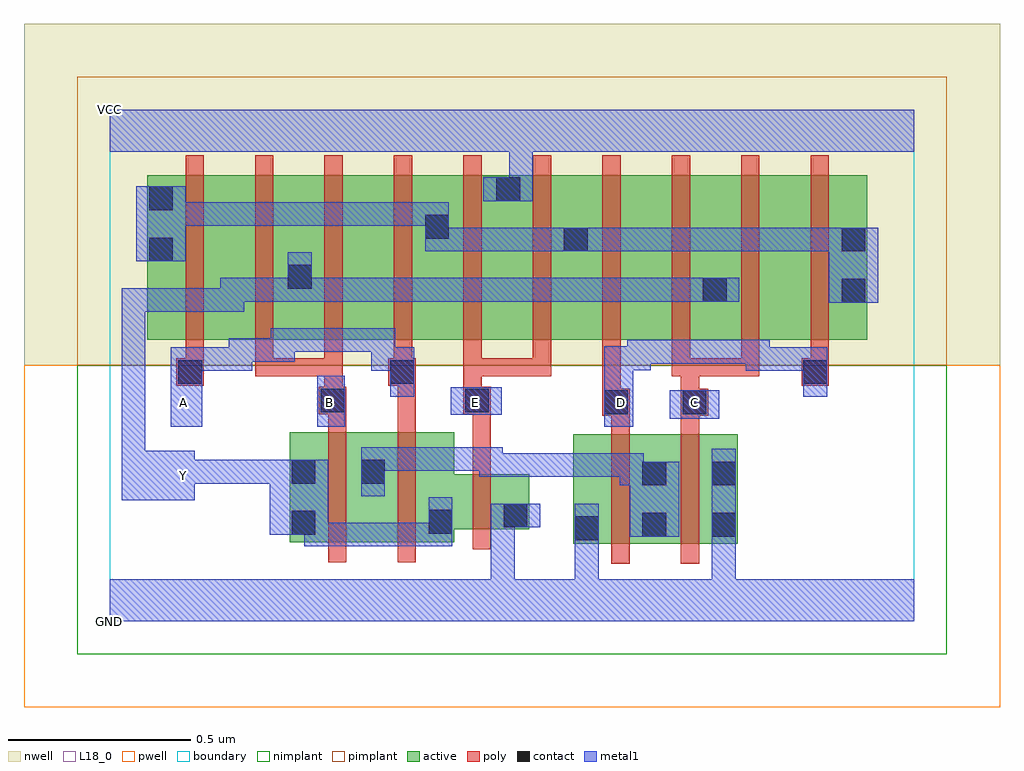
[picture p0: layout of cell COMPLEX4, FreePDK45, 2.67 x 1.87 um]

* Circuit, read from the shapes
.subckt COMPLEX4 A B C D E GND VCC Y
M1 n1 B Y VSUBS nfet w=0.3u l=0.05u
M2 Y A n1 VSUBS nfet w=0.3u l=0.05u
M3 GND E Y VSUBS nfet w=0.15u l=0.05u
M4 n1 D GND VSUBS nfet w=0.3u l=0.05u
M5 GND C n1 VSUBS nfet w=0.3u l=0.05u
M6 n2 A n3 n4 pfet w=0.45u l=0.05u
M7 Y B n2 n4 pfet w=0.45u l=0.05u
M8 n5 B Y n4 pfet w=0.45u l=0.05u
M9 n3 A n5 n4 pfet w=0.45u l=0.05u
M10 VCC E n3 n4 pfet w=0.45u l=0.05u m=2
M11 n6 D n3 n4 pfet w=0.45u l=0.05u
M12 Y C n6 n4 pfet w=0.45u l=0.05u
M13 n7 C Y n4 pfet w=0.45u l=0.05u
M14 n3 D n7 n4 pfet w=0.45u l=0.05u
.ends

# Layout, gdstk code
import gdstk
lib = gdstk.Library(unit=1e-6, precision=1e-09)
def R(c, l, rs):  # rectangles x0, y0, x1, y1
    for r in rs: c.add(gdstk.rectangle(r[:2], r[2:], *l))
def A(c, l, x, y, w, h, nx, ny, dx, dy):  # array of equal rectangles
    R(c, l, [(x+i*dx, y+j*dy, x+i*dx+w, y+j*dy+h) for i in range(nx) for j in range(ny)])
active = (1, 0)
pwell = (2, 0)
nwell = (3, 0)
nimplant = (4, 0)
pimplant = (5, 0)
poly = (9, 0)
contact = (10, 0)
metal1 = (11, 0)
L18_0 = (18, 0)
boundary = (235, 0)

complex4 = lib.new_cell('COMPLEX4')
R(complex4, active, [(1.267,0.212,1.527,0.512), (1.267,0.212,1.342,0.415), (1.452,0.212,1.717,0.512), (1.642,0.212,1.717,0.512), (0.492,0.217,0.757,0.517), (0.682,0.217,0.942,0.517), (0.867,0.217,0.942,0.31), (1.452,0.227,1.527,0.442), (0.492,0.232,0.567,0.517), (0.867,0.252,1.147,0.402), (1.072,0.252,1.147,0.327), (0.682,0.33,0.757,0.447), (0.102,0.77,0.327,1.22), (0.102,0.77,0.207,1.2), (0.327,0.77,0.557,1.22), (0.482,0.77,0.707,1.22), (0.707,0.77,0.932,1.22), (0.857,0.77,1.127,1.22), (1.052,0.77,1.312,1.22), (1.237,0.77,1.467,1.22), (1.467,0.77,1.692,1.22), (1.617,0.77,1.847,1.22), (1.847,0.77,2.072,1.22), (1.997,0.77,2.072,1.2), (1.617,0.837,1.692,1.07), (0.482,0.857,0.557,1.07), (0.857,0.857,0.932,1.2), (1.052,0.857,1.127,1.22), (1.237,0.857,1.312,1.2)])
R(complex4, pwell, [(-0.235,-0.235,2.435,0.7)])
R(complex4, nwell, [(-0.235,0.7,2.435,1.635)])
R(complex4, nimplant, [(-0.09,-0.09,2.29,0.7)])
R(complex4, pimplant, [(-0.09,0.7,2.29,1.49)])
A(complex4, poly, 0.207, 0.67, 0.05, 0.095, 6, 1, 0.19, 0)
A(complex4, poly, 1.537, 0.67, 0.05, 0.095, 3, 1, 0.19, 0)
A(complex4, poly, 0.207, 0.715, 0.05, 0.56, 10, 1, 0.19, 0)
R(complex4, poly, [(1.372,0.157,1.422,0.567), (1.562,0.157,1.612,0.567), (0.597,0.162,0.647,0.572), (0.787,0.162,0.837,0.572), (0.992,0.197,1.042,0.457), (0.992,0.407,1.042,0.617), (1.372,0.517,1.422,0.612), (1.562,0.517,1.612,0.612), (0.597,0.522,0.647,0.617), (0.787,0.522,0.837,0.695), (1.347,0.562,1.422,0.637), (1.372,0.562,1.422,0.612), (1.372,0.562,1.422,0.612), (1.562,0.562,1.637,0.637), (0.572,0.567,0.647,0.642), (0.967,0.567,1.042,0.642), (1.347,0.587,1.397,0.765), (1.562,0.587,1.612,0.72), (0.587,0.592,0.637,0.72), (0.967,0.592,1.017,0.72), (0.182,0.645,0.257,0.72), (0.762,0.645,0.837,0.72), (0.787,0.645,0.837,0.695), (0.787,0.645,0.837,0.695), (1.892,0.645,1.967,0.72), (0.397,0.67,0.447,0.72), (0.397,0.67,0.447,0.72), (0.397,0.67,0.447,0.72), (0.397,0.67,0.637,0.72), (0.587,0.67,0.637,0.72), (0.967,0.67,1.017,0.72), (0.967,0.67,1.207,0.72), (1.157,0.67,1.207,0.72), (1.157,0.67,1.207,0.72), (1.157,0.67,1.207,0.72), (1.537,0.67,1.612,0.72), (1.562,0.67,1.777,0.72), (1.727,0.67,1.777,0.72), (1.727,0.67,1.777,0.72), (1.727,0.67,1.777,0.72)])
R(complex4, contact, [(1.272,0.222,1.337,0.287), (1.457,0.232,1.522,0.297), (1.647,0.232,1.712,0.297), (0.497,0.237,0.562,0.302), (0.872,0.24,0.937,0.305), (1.077,0.257,1.142,0.322), (1.457,0.372,1.522,0.437), (1.647,0.372,1.712,0.437), (0.497,0.377,0.562,0.442), (0.687,0.377,0.752,0.442), (1.352,0.567,1.417,0.632), (1.567,0.567,1.632,0.632), (0.577,0.572,0.642,0.637), (0.972,0.572,1.037,0.637), (0.187,0.65,0.252,0.715), (0.767,0.65,0.832,0.715), (1.897,0.65,1.962,0.715), (2.002,0.872,2.067,0.937), (1.622,0.875,1.687,0.94), (0.487,0.91,0.552,0.975), (0.107,0.985,0.172,1.05), (1.242,1.012,1.307,1.077), (2.002,1.012,2.067,1.077), (0.862,1.047,0.927,1.112), (0.107,1.125,0.172,1.19), (1.057,1.15,1.122,1.215)])
R(complex4, metal1, [(0,0,2.2,0.115), (1.042,0.05,1.107,0.322), (1.272,0.05,1.337,0.252), (1.647,0.05,1.712,0.262), (1.272,0.187,1.337,0.252), (1.272,0.187,1.337,0.252), (1.272,0.187,1.337,0.322), (1.647,0.197,1.712,0.262), (1.647,0.197,1.712,0.262), (1.647,0.197,1.712,0.472), (0.532,0.205,0.597,0.27), (0.532,0.205,0.597,0.27), (0.532,0.205,0.597,0.27), (0.532,0.205,0.752,0.27), (0.532,0.205,0.597,0.302), (0.687,0.205,0.752,0.27), (0.687,0.205,0.752,0.27), (0.687,0.205,0.752,0.27), (0.687,0.205,0.937,0.27), (0.872,0.205,0.937,0.34), (1.422,0.232,1.557,0.437), (0.437,0.237,0.597,0.442), (1.042,0.257,1.107,0.322), (1.042,0.257,1.107,0.322), (1.042,0.257,1.107,0.322), (1.042,0.257,1.107,0.322), (1.042,0.257,1.177,0.322), (0.032,0.332,0.232,0.467), (0.687,0.342,0.752,0.477), (1.395,0.372,1.487,0.437), (1.395,0.372,1.46,0.46), (0.167,0.377,0.232,0.442), (0.167,0.377,0.232,0.442), (0.167,0.377,0.367,0.442), (0.302,0.377,0.367,0.442), (0.302,0.377,0.39,0.442), (0.325,0.377,0.39,0.442), (0.325,0.377,0.502,0.442), (0.437,0.377,0.502,0.442), (0.437,0.377,0.502,0.442), (1.01,0.395,1.075,0.46), (1.01,0.395,1.075,0.46), (1.01,0.395,1.342,0.46), (1.01,0.395,1.075,0.477), (1.277,0.395,1.342,0.46), (1.277,0.395,1.46,0.46), (0.032,0.402,0.097,0.912), (0.687,0.412,0.752,0.477), (0.687,0.412,0.752,0.477), (0.687,0.412,0.937,0.477), (0.872,0.412,0.937,0.477), (0.872,0.412,0.937,0.477), (0.872,0.412,0.937,0.477), (0.872,0.412,1.075,0.477), (0.167,0.532,0.252,0.75), (0.567,0.532,0.642,0.672), (1.352,0.532,1.432,0.752), (1.532,0.555,1.667,0.632), (0.932,0.565,1.072,0.64), (0.767,0.615,0.832,0.75), (1.897,0.615,1.962,0.75), (0.187,0.685,0.367,0.75), (0.302,0.685,0.367,0.75), (0.302,0.685,0.39,0.75), (0.325,0.685,0.39,0.775), (0.715,0.685,0.832,0.75), (0.715,0.685,0.78,0.802), (1.74,0.685,1.805,0.75), (1.74,0.685,1.805,0.75), (1.74,0.685,1.962,0.75), (1.74,0.685,1.805,0.77), (1.367,0.687,1.48,0.752), (1.415,0.687,1.48,0.77), (1.415,0.705,1.617,0.77), (1.552,0.705,1.617,0.77), (1.552,0.705,1.617,0.77), (1.552,0.705,1.617,0.77), (1.552,0.705,1.805,0.77), (0.325,0.71,0.505,0.775), (0.44,0.71,0.505,0.802), (0.44,0.737,0.615,0.802), (0.55,0.737,0.615,0.802), (0.55,0.737,0.78,0.802), (0.032,0.847,0.097,0.912), (0.032,0.847,0.097,0.912), (0.032,0.847,0.097,0.912), (0.032,0.847,0.097,0.912), (0.032,0.847,0.097,0.912), (0.032,0.847,0.367,0.912), (0.302,0.847,0.367,0.94), (1.967,0.872,2.102,1.077), (0.302,0.875,0.39,0.94), (0.325,0.875,0.39,0.94), (0.325,0.875,0.552,0.94), (0.487,0.875,0.552,0.94), (0.487,0.875,0.552,0.94), (0.487,0.875,0.552,1.01), (0.487,0.875,0.752,0.94), (0.687,0.875,0.752,0.94), (0.687,0.875,0.752,0.94), (0.687,0.875,0.752,0.94), (0.687,0.875,0.937,0.94), (0.872,0.875,0.937,0.94), (0.872,0.875,0.937,0.94), (0.872,0.875,0.937,0.94), (0.872,0.875,1.075,0.94), (1.01,0.875,1.075,0.94), (1.01,0.875,1.075,0.94), (1.01,0.875,1.075,0.94), (1.01,0.875,1.272,0.94), (1.207,0.875,1.272,0.94), (1.207,0.875,1.272,0.94), (1.207,0.875,1.272,0.94), (1.207,0.875,1.48,0.94), (1.415,0.875,1.48,0.94), (1.415,0.875,1.652,0.94), (1.587,0.875,1.652,0.94), (1.587,0.875,1.652,0.94), (1.587,0.875,1.722,0.94), (0.072,0.985,0.207,1.19), (0.862,1.012,0.927,1.077), (0.862,1.012,0.927,1.077), (0.862,1.012,0.927,1.147), (0.862,1.012,1.135,1.077), (1.07,1.012,1.135,1.077), (1.07,1.012,1.135,1.077), (1.07,1.012,1.135,1.077), (1.07,1.012,1.272,1.077), (1.207,1.012,1.342,1.077), (1.277,1.012,1.342,1.077), (1.277,1.012,1.342,1.077), (1.277,1.012,1.48,1.077), (1.415,1.012,1.48,1.077), (1.415,1.012,1.617,1.077), (1.552,1.012,1.617,1.077), (1.552,1.012,1.617,1.077), (1.552,1.012,1.617,1.077), (1.552,1.012,1.79,1.077), (1.725,1.012,1.79,1.077), (1.725,1.012,1.86,1.077), (1.795,1.012,1.86,1.077), (1.795,1.012,1.86,1.077), (1.795,1.012,1.86,1.077), (1.795,1.012,2.032,1.077), (1.967,1.012,2.032,1.077), (1.967,1.012,2.032,1.077), (0.142,1.082,0.207,1.147), (0.142,1.082,0.207,1.147), (0.142,1.082,0.367,1.147), (0.302,1.082,0.367,1.147), (0.302,1.082,0.39,1.147), (0.325,1.082,0.39,1.147), (0.325,1.082,0.615,1.147), (0.55,1.082,0.615,1.147), (0.55,1.082,0.615,1.147), (0.55,1.082,0.615,1.147), (0.55,1.082,0.752,1.147), (0.687,1.082,0.752,1.147), (0.687,1.082,0.752,1.147), (0.687,1.082,0.752,1.147), (0.687,1.082,0.927,1.147), (1.022,1.15,1.157,1.215), (1.092,1.15,1.157,1.35), (0,1.285,2.2,1.4)])
A(complex4, L18_0, 0.167, 0.567, 0.065, 0.065, 4, 1, 0.4, 0)
R(complex4, L18_0, [(0,0,2.2,0.115), (1.042,0.05,1.107,0.322), (1.272,0.05,1.337,0.252), (1.647,0.05,1.712,0.262), (1.272,0.187,1.337,0.252), (1.272,0.187,1.337,0.252), (1.272,0.187,1.337,0.322), (1.647,0.197,1.712,0.262), (1.647,0.197,1.712,0.262), (1.647,0.197,1.712,0.472), (0.532,0.205,0.597,0.27), (0.532,0.205,0.597,0.27), (0.532,0.205,0.597,0.27), (0.532,0.205,0.597,0.302), (0.532,0.205,0.752,0.27), (0.687,0.205,0.752,0.27), (0.687,0.205,0.752,0.27), (0.687,0.205,0.752,0.27), (0.687,0.205,0.937,0.27), (0.872,0.205,0.937,0.34), (0.437,0.237,0.597,0.442), (1.042,0.257,1.107,0.322), (1.042,0.257,1.107,0.322), (1.042,0.257,1.107,0.322), (1.042,0.257,1.107,0.322), (1.042,0.257,1.177,0.322), (0.032,0.332,0.232,0.467), (0.167,0.367,0.232,0.432), (0.167,0.377,0.232,0.442), (0.167,0.377,0.232,0.442), (0.167,0.377,0.367,0.442), (0.302,0.377,0.367,0.442), (0.302,0.377,0.39,0.442), (0.325,0.377,0.39,0.442), (0.325,0.377,0.502,0.442), (0.437,0.377,0.502,0.442), (0.437,0.377,0.502,0.442), (0.032,0.402,0.097,0.912), (0.167,0.532,0.252,0.75), (0.567,0.532,0.642,0.672), (1.352,0.532,1.432,0.752), (1.532,0.555,1.667,0.632), (0.932,0.565,1.072,0.64), (1.567,0.567,1.632,0.632), (0.767,0.615,0.832,0.75), (1.897,0.615,1.962,0.75), (0.187,0.685,0.367,0.75), (0.302,0.685,0.367,0.75), (0.302,0.685,0.39,0.75), (0.325,0.685,0.39,0.775), (0.715,0.685,0.78,0.802), (0.715,0.685,0.832,0.75), (1.74,0.685,1.805,0.75), (1.74,0.685,1.805,0.75), (1.74,0.685,1.805,0.77), (1.74,0.685,1.962,0.75), (1.367,0.687,1.48,0.752), (1.415,0.687,1.48,0.77), (1.415,0.705,1.617,0.77), (1.552,0.705,1.617,0.77), (1.552,0.705,1.617,0.77), (1.552,0.705,1.617,0.77), (1.552,0.705,1.805,0.77), (0.325,0.71,0.505,0.775), (0.44,0.71,0.505,0.802), (0.44,0.737,0.615,0.802), (0.55,0.737,0.615,0.802), (0.55,0.737,0.78,0.802), (0.032,0.847,0.097,0.912), (0.032,0.847,0.097,0.912), (0.032,0.847,0.097,0.912), (0.032,0.847,0.097,0.912), (0.032,0.847,0.097,0.912), (0.032,0.847,0.367,0.912), (0.302,0.847,0.367,0.94), (0.302,0.875,0.39,0.94), (0.325,0.875,0.39,0.94), (0.325,0.875,0.552,0.94), (0.487,0.875,0.552,0.94), (0.487,0.875,0.552,0.94), (0.487,0.875,0.552,1.01), (0.487,0.875,0.752,0.94), (0.687,0.875,0.752,0.94), (0.687,0.875,0.752,0.94), (0.687,0.875,0.752,0.94), (0.687,0.875,0.937,0.94), (0.872,0.875,0.937,0.94), (0.872,0.875,0.937,0.94), (0.872,0.875,0.937,0.94), (0.872,0.875,1.075,0.94), (1.01,0.875,1.075,0.94), (1.01,0.875,1.075,0.94), (1.01,0.875,1.075,0.94), (1.01,0.875,1.272,0.94), (1.207,0.875,1.272,0.94), (1.207,0.875,1.272,0.94), (1.207,0.875,1.272,0.94), (1.207,0.875,1.48,0.94), (1.415,0.875,1.48,0.94), (1.415,0.875,1.652,0.94), (1.587,0.875,1.652,0.94), (1.587,0.875,1.652,0.94), (1.587,0.875,1.722,0.94), (1.022,1.15,1.157,1.215), (1.092,1.15,1.157,1.35), (0,1.285,2.2,1.4)])
R(complex4, boundary, [(0,0,2.2,1.4)])
complex4.add(gdstk.Label('A', (0.2,0.6), layer=11, texttype=0))
complex4.add(gdstk.Label('B', (0.6,0.6), layer=11, texttype=0))
complex4.add(gdstk.Label('C', (1.6,0.6), layer=11, texttype=0))
complex4.add(gdstk.Label('D', (1.4,0.6), layer=11, texttype=0))
complex4.add(gdstk.Label('E', (1,0.6), layer=11, texttype=0))
complex4.add(gdstk.Label('Y', (0.2,0.4), layer=11, texttype=0))
complex4.add(gdstk.Label('VCC', (0,1.4), layer=11, texttype=0))
complex4.add(gdstk.Label('GND', (0,0), layer=11, texttype=0))

lib.write_gds('COMPLEX4.gds')
